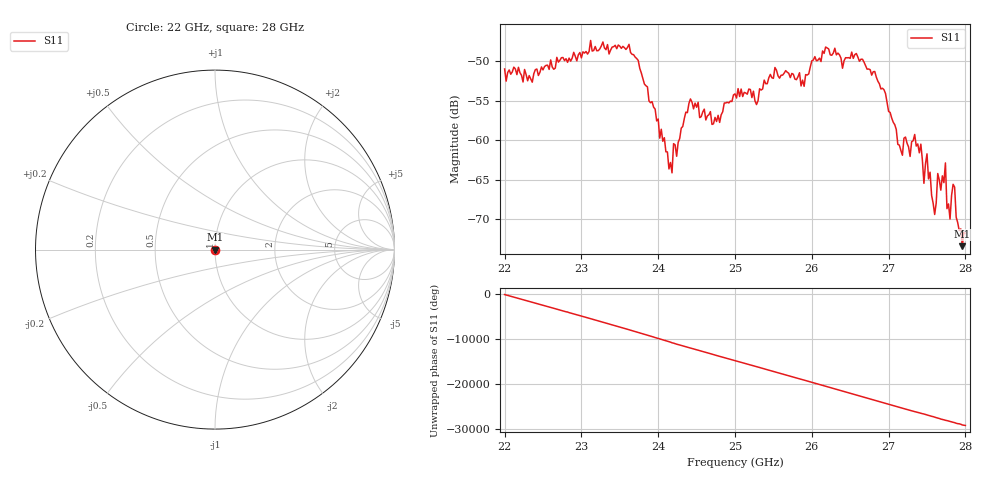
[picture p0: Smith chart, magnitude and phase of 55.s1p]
#  HZ  S  RI  R  50.00
! Rohde & Schwarz ZVA40 4Ports - Version 3.90 - 1145.1110k42 SN: 100403
! Date: 2023-10-04 08:53:07
! Measurement: S12
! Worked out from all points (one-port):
!   301 points, 22 GHz to 28 GHz, reference 50 ohm
!   lowest |S11| = -73.4 dB at 27.96 GHz (marker M1), VSWR 1.00, Z = 50 - j0.0168 ohm
!   |S11| at or under -10 dB: start of sweep to end of sweep
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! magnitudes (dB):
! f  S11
! 22 GHz  -51.0
! 22.36 GHz  -52.7
! 22.76 GHz  -49.5
! 23.5 GHz  -48.1
! 23.74 GHz  -49.9
! 24.14 GHz  -63.7
! 24.26 GHz  -60.3
! 24.42 GHz  -54.8
! 24.7 GHz  -58.0
! 25 GHz  -54.1
! 25.76 GHz  -51.7
! 26.5 GHz  -49.6
! 26.82 GHz  -51.3
! 27.18 GHz  -61.9
! 27.26 GHz  -60.9
! 27.42 GHz  -60.5
! 27.46 GHz  -65.5
! 27.5 GHz  -61.7
! 27.6 GHz  -69.4
! 27.64 GHz  -64.2
! 27.68 GHz  -66.3
! 27.74 GHz  -62.9
! 27.76 GHz  -68.7
! 27.8 GHz  -70.0
! 27.86 GHz  -66.0
! 27.88 GHz  -69.8
! 27.96 GHz  -73.4
! 28 GHz  -71.8
